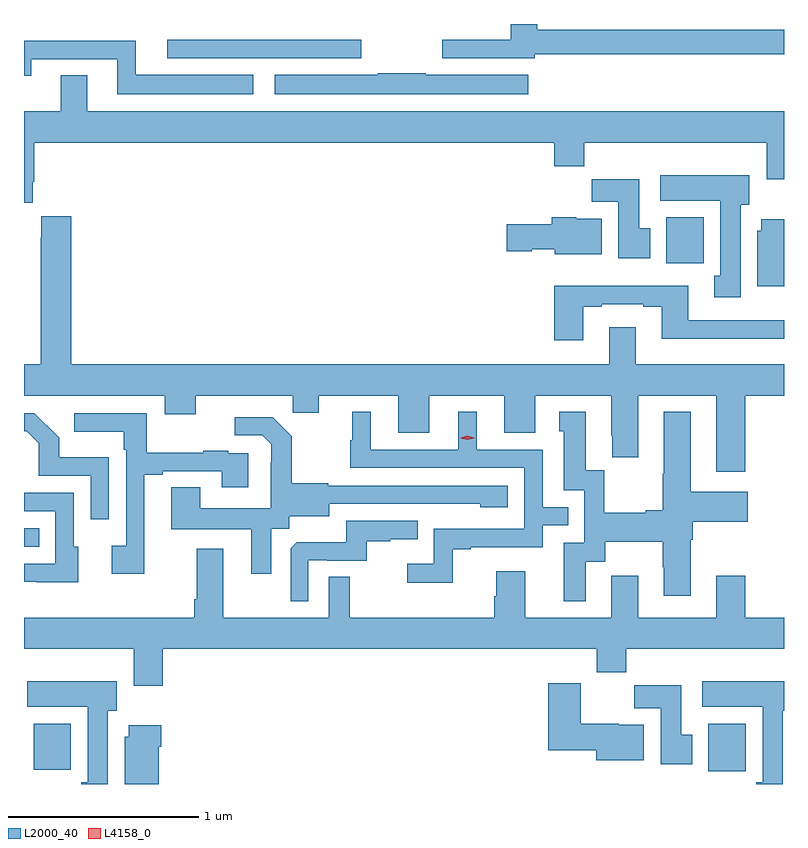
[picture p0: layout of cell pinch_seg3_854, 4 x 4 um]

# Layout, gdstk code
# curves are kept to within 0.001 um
import gdstk
lib = gdstk.Library(unit=1e-6, precision=1e-09)
def R(c, l, rs):  # rectangles x0, y0, x1, y1
    for r in rs: c.add(gdstk.rectangle(r[:2], r[2:], *l))
def P(c, l, *ps):  # polygons
    for p in ps: c.add(gdstk.Polygon(p, *l))
L2000_40 = (2000, 40)
L4158_0 = (4158, 0)

pinch_seg3_854 = lib.new_cell('pinch_seg3_854')
R(pinch_seg3_854, L2000_40, [(739.379,666.972,739.575,667.222), (735.827,666.98,736.024,667.222), (735.777,668.154,735.857,668.25), (739.157,669.644,739.354,669.886), (736.53,670.725,737.551,670.821)])
P(pinch_seg3_854, L2000_40, [(738.466,670.746),(739.777,670.746),(739.777,670.874),(738.479,670.874),(738.479,670.904),(738.339,670.904),(738.339,670.821),(737.979,670.821),(737.979,670.725),(738.466,670.725)],
  [(736.984,670.636),(736.366,670.636),(736.366,670.815),(735.777,670.815),(735.777,670.632),(735.814,670.632),(735.814,670.719),(736.268,670.719),(736.268,670.535),(736.984,670.535)],
  [(738.43,670.636),(737.891,670.636),(737.891,670.646),(737.638,670.646),(737.638,670.636),(737.097,670.636),(737.097,670.535),(738.43,670.535)],
  [(735.823,670.075),(735.83,670.075),(735.83,670.28),(738.569,670.28),(738.569,670.156),(738.725,670.156),(738.725,670.28),(739.685,670.28),(739.685,670.086),(739.777,670.086),(739.777,670.444),(736.111,670.444),(736.111,670.634),(735.971,670.634),(735.971,670.444),(735.777,670.444),(735.777,669.963),(735.823,669.963)],
  [(739.549,669.954),(739.594,669.954),(739.594,670.108),(739.125,670.108),(739.125,669.974),(739.442,669.974),(739.442,669.578),(739.409,669.578),(739.409,669.465),(739.549,669.465)],
  [(739.072,669.828),(739.015,669.828),(739.015,670.087),(738.766,670.087),(738.766,669.968),(738.905,669.968),(738.905,669.672),(739.072,669.672)],
  [(739.574,668.948),(739.777,668.948),(739.777,669.112),(738.997,669.112),(738.997,669.307),(738.857,669.307),(738.857,669.112),(736.025,669.112),(736.025,669.892),(735.869,669.892),(735.869,669.779),(735.865,669.779),(735.865,669.112),(735.777,669.112),(735.777,668.948),(736.517,668.948),(736.517,668.849),(736.681,668.849),(736.681,668.948),(737.191,668.948),(737.191,668.858),(737.329,668.858),(737.329,668.948),(737.747,668.948),(737.747,668.754),(737.911,668.754),(737.911,668.948),(738.305,668.948),(738.305,668.754),(738.469,668.754),(738.469,668.948),(738.869,668.948),(738.869,668.737),(738.872,668.737),(738.872,668.625),(739.009,668.625),(739.009,668.948),(739.421,668.948),(739.421,668.547),(739.574,668.547)],
  [(738.817,669.88),(738.684,669.88),(738.684,669.886),(738.554,669.886),(738.554,669.849),(738.318,669.849),(738.318,669.707),(738.45,669.707),(738.45,669.719),(738.57,669.719),(738.57,669.692),(738.817,669.692)],
  [(739.777,669.877),(739.658,669.877),(739.658,669.816),(739.637,669.816),(739.637,669.524),(739.777,669.524)],
  [(738.721,669.417),(738.817,669.417),(738.817,669.429),(739.037,669.429),(739.037,669.417),(739.133,669.417),(739.133,669.248),(739.777,669.248),(739.777,669.345),(739.273,669.345),(739.273,669.526),(738.569,669.526),(738.569,669.24),(738.721,669.24)],
  [(738.033,668.139),(738.127,668.139),(738.127,668.151),(738.507,668.151),(738.507,668.265),(738.641,668.265),(738.641,668.361),(738.507,668.361),(738.507,668.664),(738.16,668.664),(738.16,668.863),(738.062,668.863),(738.062,668.664),(737.602,668.664),(737.602,668.863),(737.504,668.863),(737.504,668.712),(737.493,668.712),(737.493,668.568),(738.411,668.568),(738.411,668.247),(737.934,668.247),(737.934,668.062),(737.793,668.062),(737.793,667.964),(738.033,667.964)],
  [(738.733,668.074),(738.835,668.074),(738.835,668.18),(739.138,668.18),(739.138,668.046),(739.145,668.046),(739.145,667.896),(739.285,667.896),(739.285,668.189),(739.298,668.189),(739.298,668.285),(739.585,668.285),(739.585,668.443),(739.285,668.443),(739.285,668.863),(739.145,668.863),(739.145,668.537),(739.138,668.537),(739.138,668.345),(739.049,668.345),(739.049,668.332),(738.831,668.332),(738.831,668.555),(738.733,668.555),(738.733,668.863),(738.593,668.863),(738.593,668.76),(738.617,668.76),(738.617,668.451),(738.726,668.451),(738.726,668.175),(738.617,668.175),(738.617,667.866),(738.733,667.866)],
  [(736.224,668.623),(735.963,668.623),(735.963,668.726),(735.832,668.856),(735.777,668.856),(735.777,668.76),(735.792,668.76),(735.855,668.697),(735.855,668.526),(736.128,668.526),(736.128,668.298),(736.224,668.298)],
  [(736.411,668.532),(736.507,668.532),(736.507,668.55),(736.817,668.55),(736.817,668.466),(736.957,668.466),(736.957,668.646),(736.853,668.646),(736.853,668.659),(736.721,668.659),(736.721,668.648),(736.423,668.648),(736.423,668.856),(736.041,668.856),(736.041,668.759),(736.302,668.759),(736.302,668.663),(736.314,668.663),(736.314,668.158),(736.239,668.158),(736.239,668.01),(736.411,668.01)],
  [(737.077,668.248),(737.172,668.248),(737.172,668.312),(737.383,668.312),(737.383,668.379),(738.177,668.378),(738.177,668.36),(738.322,668.36),(738.322,668.475),(737.379,668.475),(737.379,668.488),(737.187,668.488),(737.187,668.733),(737.087,668.833),(736.887,668.833),(736.887,668.739),(737.031,668.739),(737.078,668.692),(737.078,668.597),(737.076,668.597),(737.076,668.356),(736.705,668.356),(736.705,668.465),(736.553,668.465),(736.553,668.246),(736.973,668.246),(736.973,668.01),(737.077,668.01)],
  [(736.063,668.154),(736.038,668.154),(736.038,668.436),(735.777,668.436),(735.777,668.34),(735.942,668.34),(735.942,668.064),(735.777,668.064),(735.777,667.968),(735.845,667.968),(735.845,667.967),(736.063,667.967)],
  [(737.274,668.082),(737.374,668.082),(737.374,668.079),(737.582,668.079),(737.582,668.181),(737.705,668.181),(737.705,668.192),(737.849,668.192),(737.849,668.289),(737.472,668.289),(737.472,668.177),(737.213,668.177),(737.181,668.145),(737.181,667.865),(737.274,667.865)],
  [(736.508,667.616),(738.791,667.616),(738.791,667.492),(738.947,667.492),(738.947,667.616),(739.777,667.616),(739.777,667.78),(739.574,667.78),(739.574,667.999),(739.421,667.999),(739.421,667.78),(739.009,667.78),(739.009,667.999),(738.869,667.999),(738.869,667.78),(738.415,667.78),(738.415,668.023),(738.263,668.023),(738.263,667.893),(738.251,667.893),(738.251,667.78),(737.491,667.78),(737.491,667.994),(737.382,667.994),(737.382,667.78),(736.825,667.78),(736.825,668.143),(736.685,668.143),(736.685,667.876),(736.673,667.876),(736.673,667.78),(735.777,667.78),(735.777,667.616),(736.355,667.616),(736.355,667.422),(736.508,667.422)],
  [(739.771,667.29),(739.777,667.29),(739.777,667.444),(739.347,667.444),(739.347,667.31),(739.664,667.31),(739.664,666.913),(739.631,666.913),(739.631,666.904),(739.771,666.904)],
  [(736.219,667.29),(736.264,667.29),(736.264,667.444),(735.795,667.444),(735.795,667.31),(736.112,667.31),(736.112,666.914),(736.079,666.914),(736.079,666.904),(736.219,666.904)],
  [(739.039,667.216),(738.906,667.216),(738.906,667.222),(738.706,667.222),(738.706,667.435),(738.536,667.435),(738.536,667.082),(738.788,667.082),(738.788,667.028),(739.039,667.028)],
  [(739.294,667.164),(739.237,667.164),(739.237,667.423),(738.988,667.423),(738.988,667.304),(739.127,667.304),(739.127,667.008),(739.294,667.008)],
  [(736.486,667.1),(736.499,667.1),(736.499,667.213),(736.328,667.213),(736.328,667.152),(736.307,667.152),(736.307,666.904),(736.486,666.904)])
P(pinch_seg3_854, L4158_0, [(738.111,668.716),(738.076,668.725),(738.075,668.726),(738.076,668.726),(738.111,668.736),(738.146,668.726),(738.147,668.726),(738.146,668.725)])

lib.write_gds('pinch_seg3_854.gds')
